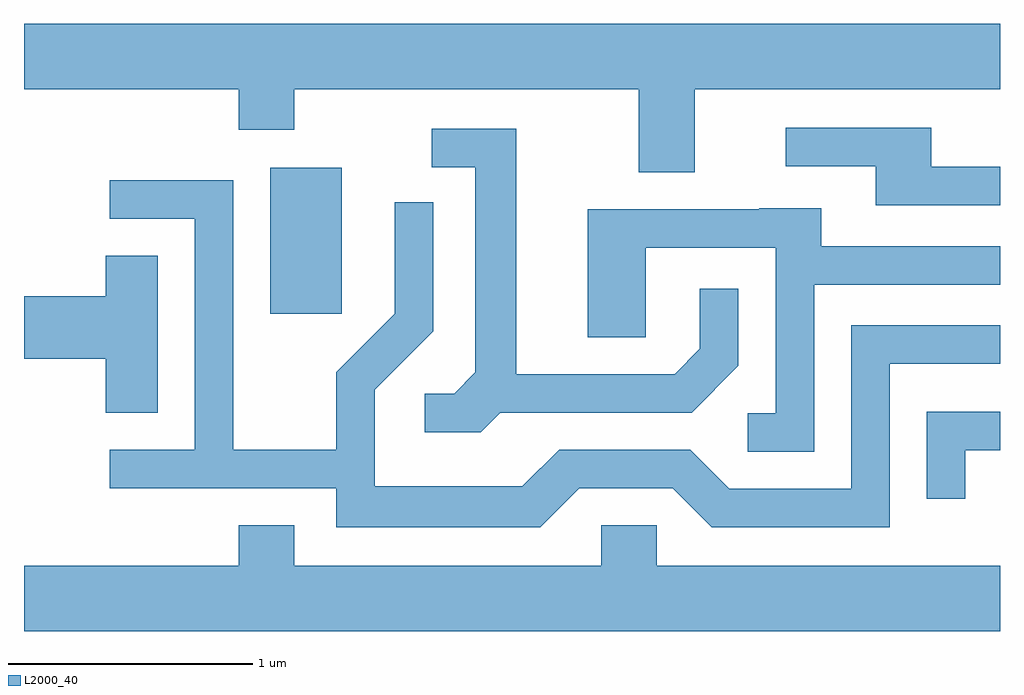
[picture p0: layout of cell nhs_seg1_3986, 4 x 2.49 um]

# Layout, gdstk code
import gdstk
lib = gdstk.Library(unit=1e-6, precision=1e-09)
def R(c, l, rs):  # rectangles x0, y0, x1, y1
    for r in rs: c.add(gdstk.rectangle(r[:2], r[2:], *l))
def P(c, l, *ps):  # polygons
    for p in ps: c.add(gdstk.Polygon(p, *l))
L2000_40 = (2000, 40)

nhs_seg1_3986 = lib.new_cell('nhs_seg1_3986')
R(nhs_seg1_3986, L2000_40, [(306.621,863.136,306.914,863.734)])
P(nhs_seg1_3986, L2000_40, [(305.611,864.056),(306.491,864.056),(306.491,863.891),(306.719,863.891),(306.719,864.056),(308.131,864.056),(308.131,863.716),(308.359,863.716),(308.359,864.056),(309.611,864.056),(309.611,864.324),(305.611,864.324)],
  [(309.611,863.739),(309.329,863.739),(309.329,863.899),(308.733,863.899),(308.733,863.741),(309.101,863.741),(309.101,863.581),(309.611,863.581)],
  [(307.562,862.731),(308.347,862.731),(308.539,862.924),(308.539,863.238),(308.381,863.238),(308.381,862.992),(308.279,862.889),(307.629,862.889),(307.629,863.894),(307.283,863.894),(307.283,863.736),(307.461,863.736),(307.461,862.897),(307.374,862.809),(307.253,862.809),(307.253,862.651),(307.482,862.651)],
  [(307.887,862.421),(308.269,862.421),(308.429,862.261),(309.159,862.261),(309.159,862.931),(309.611,862.931),(309.611,863.089),(309.001,863.089),(309.001,862.419),(308.502,862.419),(308.342,862.579),(307.804,862.579),(307.654,862.429),(307.049,862.429),(307.049,862.824),(307.289,863.064),(307.289,863.593),(307.131,863.593),(307.131,863.137),(306.891,862.897),(306.891,862.579),(306.469,862.579),(306.469,863.684),(305.963,863.684),(305.963,863.526),(306.311,863.526),(306.311,862.579),(305.963,862.579),(305.963,862.421),(306.891,862.421),(306.891,862.261),(307.727,862.261)],
  [(308.849,863.256),(309.611,863.256),(309.611,863.414),(308.879,863.414),(308.879,863.569),(308.625,863.569),(308.625,863.564),(307.921,863.564),(307.921,863.041),(308.159,863.041),(308.159,863.406),(308.691,863.406),(308.691,862.729),(308.578,862.729),(308.578,862.571),(308.849,862.571)],
  [(306.159,863.374),(305.946,863.374),(305.946,863.209),(305.611,863.209),(305.611,862.951),(305.946,862.951),(305.946,862.731),(306.159,862.731)],
  [(309.469,862.576),(309.611,862.576),(309.611,862.734),(309.311,862.734),(309.311,862.378),(309.469,862.378)],
  [(309.611,862.104),(308.204,862.104),(308.204,862.269),(307.976,862.269),(307.976,862.104),(306.719,862.104),(306.719,862.269),(306.491,862.269),(306.491,862.104),(305.611,862.104),(305.611,861.836),(309.611,861.836)])

lib.write_gds('nhs_seg1_3986.gds')
